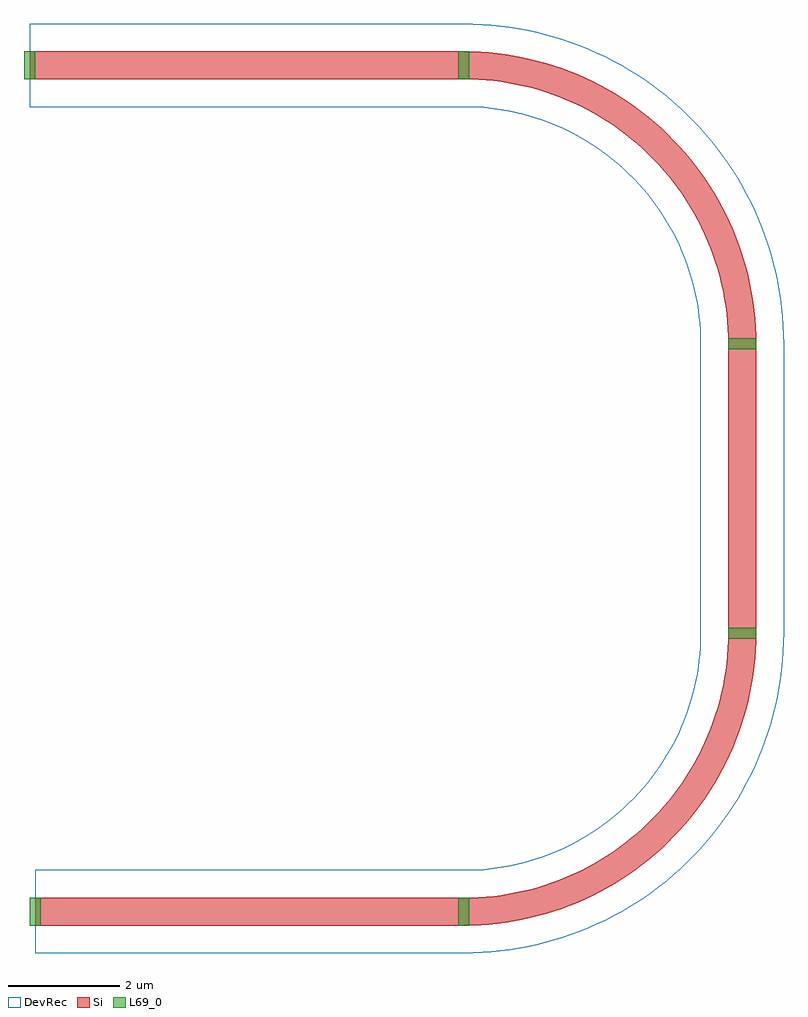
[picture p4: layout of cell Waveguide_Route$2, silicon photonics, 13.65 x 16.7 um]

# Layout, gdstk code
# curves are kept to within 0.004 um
from math import pi, radians
import gdstk
lib = gdstk.Library(unit=1e-6, precision=1e-09)
def R(c, l, rs):  # rectangles x0, y0, x1, y1
    for r in rs: c.add(gdstk.rectangle(r[:2], r[2:], *l))
def P(c, l, *ps):  # polygons
    for p in ps: c.add(gdstk.Polygon(p, *l))
Si = (1, 0)
DevRec = (68, 0)
L69_0 = (69, 0)

waveguide_bend_2 = lib.new_cell('Waveguide_Bend$2')
P(waveguide_bend_2, Si, [(-5,-0.25),(-5,0.25),(-4.594,0.267),(-4.324,0.298),(-4.057,0.345),(-3.792,0.406),(-3.532,0.482),(-3.151,0.625),(-2.904,0.737),(-2.783,0.799),(-2.547,0.932),(-2.432,1.004),(-2.099,1.238),(-1.889,1.41),(-1.69,1.594),(-1.5,1.788),(-1.41,1.889),(-1.238,2.099),(-1.079,2.319),(-0.932,2.547),(-0.799,2.783),(-0.737,2.904),(-0.625,3.151),(-0.482,3.532),(-0.406,3.792),(-0.345,4.057),(-0.298,4.324),(-0.267,4.594),(-0.25,5),(0.25,5),(0.248,4.85),(0.231,4.551),(0.197,4.253),(0.145,3.957),(0.078,3.665),(-0.007,3.378),(-0.055,3.236),(-0.164,2.956),(-0.224,2.819),(-0.357,2.55),(-0.504,2.289),(-0.583,2.162),(-0.666,2.037),(-0.843,1.794),(-1.032,1.562),(-1.235,1.341),(-1.341,1.235),(-1.562,1.032),(-1.794,0.843),(-2.037,0.666),(-2.162,0.583),(-2.418,0.429),(-2.684,0.289),(-2.956,0.164),(-3.236,0.055),(-3.378,0.007),(-3.665,-0.078),(-3.957,-0.145),(-4.253,-0.197),(-4.402,-0.216),(-4.7,-0.241)])
P(waveguide_bend_2, DevRec, [(-5,-0.75),(-5,0.75),(-4.757,0.757),(-4.516,0.778),(-4.395,0.793),(-4.156,0.835),(-4.037,0.86),(-3.803,0.922),(-3.572,0.997),(-3.346,1.085),(-3.017,1.241),(-2.702,1.425),(-2.405,1.634),(-2.217,1.788),(-2.038,1.952),(-1.788,2.217),(-1.634,2.405),(-1.492,2.601),(-1.299,2.91),(-1.186,3.125),(-1.085,3.346),(-0.997,3.572),(-0.922,3.803),(-0.86,4.037),(-0.835,4.156),(-0.812,4.275),(-0.778,4.516),(-0.757,4.757),(-0.75,5),(0.75,5),(0.748,4.836),(0.729,4.508),(0.713,4.345),(0.666,4.019),(0.601,3.698),(0.517,3.38),(0.469,3.223),(0.358,2.914),(0.23,2.611),(0.16,2.463),(0.007,2.173),(-0.163,1.891),(-0.348,1.62),(-0.549,1.36),(-0.654,1.235),(-0.876,0.993),(-0.993,0.876),(-1.235,0.654),(-1.489,0.447),(-1.754,0.254),(-1.891,0.163),(-2.173,-0.007),(-2.463,-0.16),(-2.762,-0.296),(-3.068,-0.416),(-3.223,-0.469),(-3.538,-0.561),(-3.858,-0.635),(-4.019,-0.666),(-4.345,-0.713),(-4.672,-0.741)])
waveguide_bend_2.add(gdstk.FlexPath([(0,5.1),(0,4.9)], 0.5, ends="flush", simple_path=True, layer=69, datatype=0))  # L69_0
waveguide_bend_2.add(gdstk.FlexPath([(-4.9,0),(-5.1,0)], 0.5, ends="flush", simple_path=True, layer=69, datatype=0))  # L69_0
waveguide_bend_2.add(gdstk.Label('Lumerical_INTERCONNECT_library=Design kits/ebeam_v1.1', (-4.5,0), layer=68, texttype=0))
waveguide_bend_2.add(gdstk.Label('Lumerical_INTERCONNECT_component=ebeam_bend_1550', (-4.5,1.25), layer=68, texttype=0))
waveguide_bend_2.add(gdstk.Label('Spice_param:radius=5.000u wg_width=0.500u', (-4.5,2.5), layer=68, texttype=0))
waveguide_bend_2.add(gdstk.Label('pin2', (0,5), layer=69, texttype=0))
waveguide_bend_2.add(gdstk.Label('pin1', (-5,0), layer=69, texttype=0))

waveguide_straight_39 = lib.new_cell('Waveguide_Straight$39')
R(waveguide_straight_39, Si, [(-2.6,-0.25,2.6,0.25)])
R(waveguide_straight_39, DevRec, [(-2.6,-0.75,2.6,0.75)])
waveguide_straight_39.add(gdstk.FlexPath([(-2.7,0),(-2.5,0)], 0.5, ends="flush", simple_path=True, layer=69, datatype=0))  # L69_0
waveguide_straight_39.add(gdstk.FlexPath([(2.5,0),(2.7,0)], 0.5, ends="flush", simple_path=True, layer=69, datatype=0))  # L69_0
waveguide_straight_39.add(gdstk.Label('Lumerical_INTERCONNECT_library=Design kits/ebeam_v1.0', (0,0), layer=68, texttype=0))
waveguide_straight_39.add(gdstk.Label('Lumerical_INTERCONNECT_component=ebeam_wg_strip_1550', (0.52,0), layer=68, texttype=0))
waveguide_straight_39.add(gdstk.Label('Spice_param:wg_width=0.500u wg_length=5.200u', (0.577,0), layer=68, texttype=0))
waveguide_straight_39.add(gdstk.Label('pin1', (-2.6,0), layer=69, texttype=0))
waveguide_straight_39.add(gdstk.Label('pin2', (2.6,0), layer=69, texttype=0))

waveguide_straight_26 = lib.new_cell('Waveguide_Straight$26')
R(waveguide_straight_26, Si, [(-3.85,-0.25,3.85,0.25)])
R(waveguide_straight_26, DevRec, [(-3.85,-0.75,3.85,0.75)])
waveguide_straight_26.add(gdstk.FlexPath([(-3.95,0),(-3.75,0)], 0.5, ends="flush", simple_path=True, layer=69, datatype=0))  # L69_0
waveguide_straight_26.add(gdstk.FlexPath([(3.75,0),(3.95,0)], 0.5, ends="flush", simple_path=True, layer=69, datatype=0))  # L69_0
waveguide_straight_26.add(gdstk.Label('Lumerical_INTERCONNECT_library=Design kits/ebeam_v1.0', (0,0), layer=68, texttype=0))
waveguide_straight_26.add(gdstk.Label('Lumerical_INTERCONNECT_component=ebeam_wg_strip_1550', (0.77,0), layer=68, texttype=0))
waveguide_straight_26.add(gdstk.Label('Spice_param:wg_width=0.500u wg_length=7.700u', (0.855,0), layer=68, texttype=0))
waveguide_straight_26.add(gdstk.Label('pin1', (-3.85,0), layer=69, texttype=0))
waveguide_straight_26.add(gdstk.Label('pin2', (3.85,0), layer=69, texttype=0))

waveguide_straight_40 = lib.new_cell('Waveguide_Straight$40')
R(waveguide_straight_40, Si, [(-3.9,-0.25,3.9,0.25)])
R(waveguide_straight_40, DevRec, [(-3.9,-0.75,3.9,0.75)])
waveguide_straight_40.add(gdstk.FlexPath([(-4,0),(-3.8,0)], 0.5, ends="flush", simple_path=True, layer=69, datatype=0))  # L69_0
waveguide_straight_40.add(gdstk.FlexPath([(3.8,0),(4,0)], 0.5, ends="flush", simple_path=True, layer=69, datatype=0))  # L69_0
waveguide_straight_40.add(gdstk.Label('Lumerical_INTERCONNECT_library=Design kits/ebeam_v1.0', (0,0), layer=68, texttype=0))
waveguide_straight_40.add(gdstk.Label('Lumerical_INTERCONNECT_component=ebeam_wg_strip_1550', (0.78,0), layer=68, texttype=0))
waveguide_straight_40.add(gdstk.Label('Spice_param:wg_width=0.500u wg_length=7.800u', (0.866,0), layer=68, texttype=0))
waveguide_straight_40.add(gdstk.Label('pin1', (-3.9,0), layer=69, texttype=0))
waveguide_straight_40.add(gdstk.Label('pin2', (3.9,0), layer=69, texttype=0))

waveguide_route_2 = lib.new_cell('Waveguide_Route$2')
waveguide_route_2.add(gdstk.Reference(waveguide_bend_2, (25.8,0.35)))
waveguide_route_2.add(gdstk.Reference(waveguide_bend_2, (25.8,15.55), rotation=pi/2))
waveguide_route_2.add(gdstk.Reference(waveguide_straight_39, (25.8,7.95), rotation=pi/2))
waveguide_route_2.add(gdstk.Reference(waveguide_straight_26, (16.95,0.35)))
waveguide_route_2.add(gdstk.Reference(waveguide_straight_40, (16.9,15.55), rotation=pi))

lib.write_gds('Waveguide_Route_2.gds')
